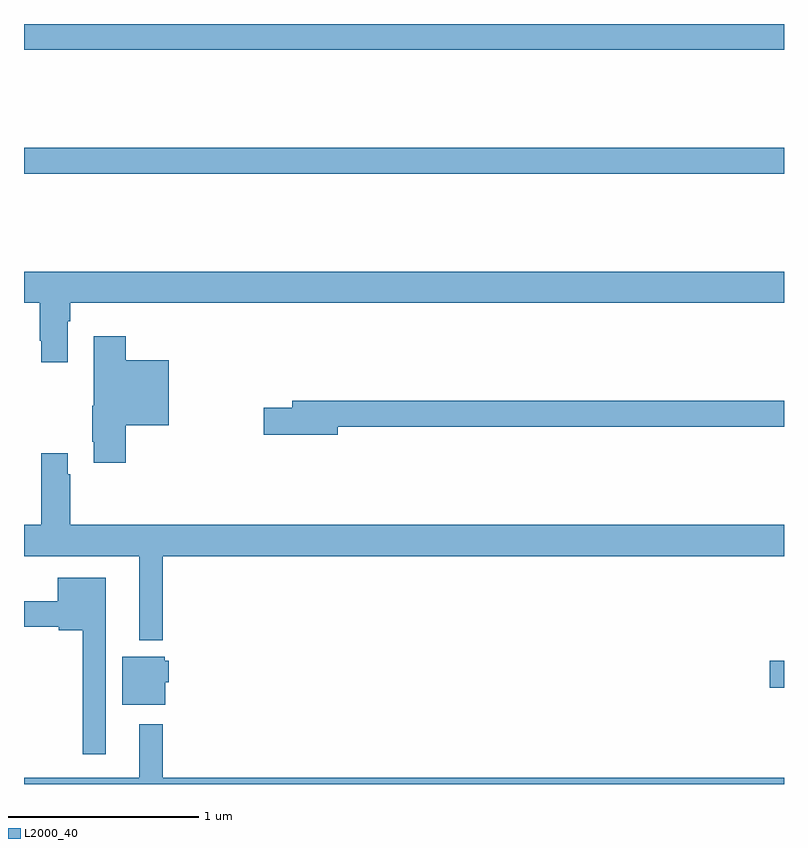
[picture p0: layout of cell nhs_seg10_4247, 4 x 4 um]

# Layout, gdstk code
import gdstk
lib = gdstk.Library(unit=1e-6, precision=1e-09)
def R(c, l, rs):  # rectangles x0, y0, x1, y1
    for r in rs: c.add(gdstk.rectangle(r[:2], r[2:], *l))
def P(c, l, *ps):  # polygons
    for p in ps: c.add(gdstk.Polygon(p, *l))
L2000_40 = (2000, 40)

nhs_seg10_4247 = lib.new_cell('nhs_seg10_4247')
R(nhs_seg10_4247, L2000_40, [(352.926,1249.006,353,1249.148), (349,1251.712,353,1251.848), (349,1252.364,353,1252.5)])
P(nhs_seg10_4247, L2000_40, [(349.231,1250.936),(349.244,1250.936),(349.244,1251.032),(353,1251.032),(353,1251.196),(349,1251.196),(349,1251.032),(349.084,1251.032),(349.084,1250.833),(349.091,1250.833),(349.091,1250.721),(349.231,1250.721)],
  [(349.535,1250.387),(349.762,1250.387),(349.762,1250.731),(349.535,1250.731),(349.535,1250.857),(349.367,1250.857),(349.367,1250.491),(349.36,1250.491),(349.36,1250.302),(349.367,1250.302),(349.367,1250.19),(349.535,1250.19)],
  [(350.65,1250.38),(353,1250.38),(353,1250.516),(350.411,1250.516),(350.411,1250.48),(350.262,1250.48),(350.262,1250.338),(350.65,1250.338)],
  [(349.729,1249.7),(353,1249.7),(353,1249.864),(349.244,1249.864),(349.244,1250.129),(349.231,1250.129),(349.231,1250.242),(349.091,1250.242),(349.091,1249.864),(349,1249.864),(349,1249.7),(349.607,1249.7),(349.607,1249.256),(349.729,1249.256)],
  [(349.429,1249.585),(349.178,1249.585),(349.178,1249.462),(349,1249.462),(349,1249.328),(349.182,1249.328),(349.182,1249.31),(349.308,1249.31),(349.308,1248.657),(349.429,1248.657)],
  [(349.744,1249.035),(349.762,1249.035),(349.762,1249.149),(349.74,1249.149),(349.74,1249.171),(349.517,1249.171),(349.517,1248.917),(349.744,1248.917)],
  [(353,1248.532),(349.729,1248.532),(349.729,1248.814),(349.607,1248.814),(349.607,1248.532),(349,1248.532),(349,1248.5),(353,1248.5)])

lib.write_gds('nhs_seg10_4247.gds')
